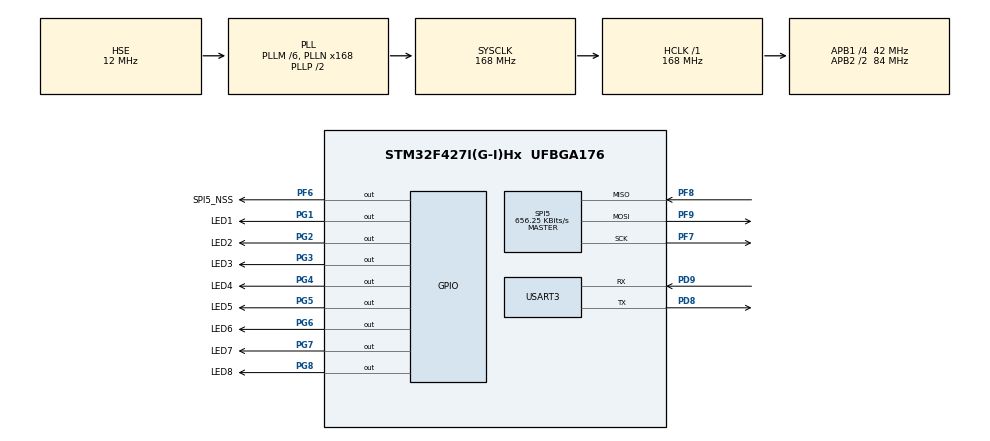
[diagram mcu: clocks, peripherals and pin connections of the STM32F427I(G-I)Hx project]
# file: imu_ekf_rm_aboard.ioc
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FREERTOS.Tasks01=LOGGER_TASK,0,128,Logger_Task,As weak,NULL,Dynamic,NULL,NULL;IMU_TASK,0,256,Imu_Task,As weak,NULL,Dynamic,NULL,NULL
Mcu.Family=STM32F4
Mcu.Name=STM32F427I(G-I)Hx
Mcu.Package=UFBGA176
NVIC.PriorityGroup=NVIC_PRIORITYGROUP_4
NVIC.TIM6_DAC_IRQn=true\:15\:0\:false\:false\:true\:false\:false\:true\:true
NVIC.TimeBase=TIM6_DAC_IRQn
NVIC.TimeBaseIP=TIM6
PD8.Mode=Asynchronous
PD8.Signal=USART3_TX
PD9.Mode=Asynchronous
PD9.Signal=USART3_RX
PF6.GPIO_Label=SPI5_NSS
PF6.GPIO_Speed=GPIO_SPEED_FREQ_HIGH
PF6.PinState=GPIO_PIN_RESET
PF6.Signal=GPIO_Output
PF7.Mode=Full_Duplex_Master
PF7.Signal=SPI5_SCK
PF8.Mode=Full_Duplex_Master
PF8.Signal=SPI5_MISO
PF9.Mode=Full_Duplex_Master
PF9.Signal=SPI5_MOSI
PG1.GPIO_Label=LED1
PG1.GPIO_ModeDefaultOutputPP=GPIO_MODE_OUTPUT_PP
PG1.GPIO_PuPd=GPIO_NOPULL
PG1.GPIO_Speed=GPIO_SPEED_FREQ_HIGH
PG1.PinState=GPIO_PIN_SET
PG1.Signal=GPIO_Output
PG2.GPIO_Label=LED2
PG2.GPIO_ModeDefaultOutputPP=GPIO_MODE_OUTPUT_PP
PG2.GPIO_PuPd=GPIO_NOPULL
PG2.GPIO_Speed=GPIO_SPEED_FREQ_HIGH
PG2.PinState=GPIO_PIN_SET
PG2.Signal=GPIO_Output
PG3.GPIO_Label=LED3
PG3.GPIO_ModeDefaultOutputPP=GPIO_MODE_OUTPUT_PP
PG3.GPIO_PuPd=GPIO_NOPULL
PG3.GPIO_Speed=GPIO_SPEED_FREQ_HIGH
PG3.PinState=GPIO_PIN_SET
PG3.Signal=GPIO_Output
PG4.GPIO_Label=LED4
PG4.GPIO_ModeDefaultOutputPP=GPIO_MODE_OUTPUT_PP
PG4.GPIO_PuPd=GPIO_NOPULL
PG4.GPIO_Speed=GPIO_SPEED_FREQ_HIGH
PG4.PinState=GPIO_PIN_SET
PG4.Signal=GPIO_Output
PG5.GPIO_Label=LED5
PG5.GPIO_ModeDefaultOutputPP=GPIO_MODE_OUTPUT_PP
PG5.GPIO_PuPd=GPIO_NOPULL
PG5.GPIO_Speed=GPIO_SPEED_FREQ_HIGH
PG5.PinState=GPIO_PIN_SET
PG5.Signal=GPIO_Output
PG6.GPIO_Label=LED6
PG6.GPIO_ModeDefaultOutputPP=GPIO_MODE_OUTPUT_PP
PG6.GPIO_PuPd=GPIO_NOPULL
PG6.GPIO_Speed=GPIO_SPEED_FREQ_HIGH
PG6.PinState=GPIO_PIN_SET
PG6.Signal=GPIO_Output
PG7.GPIO_Label=LED7
PG7.GPIO_ModeDefaultOutputPP=GPIO_MODE_OUTPUT_PP
PG7.GPIO_PuPd=GPIO_NOPULL
PG7.GPIO_Speed=GPIO_SPEED_FREQ_HIGH
PG7.PinState=GPIO_PIN_SET
PG7.Signal=GPIO_Output
PG8.GPIO_Label=LED8
PG8.GPIO_ModeDefaultOutputPP=GPIO_MODE_OUTPUT_PP
PG8.GPIO_PuPd=GPIO_NOPULL
PG8.GPIO_Speed=GPIO_SPEED_FREQ_HIGH
PG8.PinState=GPIO_PIN_SET
PG8.Signal=GPIO_Output
PH0/OSC_IN.Mode=HSE-External-Oscillator
PH0/OSC_IN.Signal=RCC_OSC_IN
PH1/OSC_OUT.Mode=HSE-External-Oscillator
PH1/OSC_OUT.Signal=RCC_OSC_OUT
ProjectManager.HeapSize=0x200
ProjectManager.StackSize=0x400
ProjectManager.TargetToolchain=MDK-ARM V5.32
RCC.48MHZClocksFreq_Value=84000000
RCC.AHBFreq_Value=168000000
RCC.APB1CLKDivider=RCC_HCLK_DIV4
RCC.APB1Freq_Value=42000000
RCC.APB1TimFreq_Value=84000000
RCC.APB2CLKDivider=RCC_HCLK_DIV2
RCC.APB2Freq_Value=84000000
RCC.APB2TimFreq_Value=168000000
RCC.CortexFreq_Value=168000000
RCC.HCLKFreq_Value=168000000
RCC.HSE_VALUE=12000000
RCC.HSI_VALUE=16000000
RCC.LSE_VALUE=32768
RCC.PLLM=6
RCC.PLLN=168
RCC.PLLSourceVirtual=RCC_PLLSOURCE_HSE
RCC.SYSCLKFreq_VALUE=168000000
RCC.SYSCLKSource=RCC_SYSCLKSOURCE_PLLCLK
RCC.VCOOutputFreq_Value=336000000
SPI5.BaudRatePrescaler=SPI_BAUDRATEPRESCALER_128
SPI5.CalculateBaudRate=656.25 KBits/s
SPI5.Direction=SPI_DIRECTION_2LINES
SPI5.Mode=SPI_MODE_MASTER
SPI5.VirtualType=VM_MASTER
STMicroelectronics.X-CUBE-ALGOBUILD.1.4.0.LibraryCcDSPOoLibraryJjDSPOoLibrary=true
USART3.VirtualMode=VM_ASYNC
VP_FREERTOS_VS_CMSIS_V1.Mode=CMSIS_V1
VP_STMicroelectronics.X-CUBE-ALGOBUILD_VS_DSPOoLibraryJjLibrary_1.4.0_1.4.0.Mode=DSPOoLibraryJjLibrary
VP_SYS_VS_tim6.Mode=TIM6
board=custom

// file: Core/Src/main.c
/* USER CODE BEGIN Header */
/**
  ******************************************************************************
  * @file           : main.c
  * @brief          : Main program body
  ******************************************************************************
  * @attention
  *
  * Copyright (c) 2024 STMicroelectronics.
  * All rights reserved.
  *
  * This software is licensed under terms that can be found in the LICENSE file
  * in the root directory of this software component.
  * If no LICENSE file comes with this software, it is provided AS-IS.
  *
  ******************************************************************************
  */
/* USER CODE END Header */
#include "main.h"
#include "cmsis_os.h"
#include "spi.h"
#include "usart.h"
#include "gpio.h"

/* USER CODE BEGIN Includes */

#include "bsp_imu.h"
#include "bsp_dwt.h"
#include "arm_math.h"
#include "math.h"
#include "stdint.h"
#include "stdlib.h"

/* USER CODE END Includes */

/* USER CODE BEGIN PD */

#define FPU_DEBUG 0       // 开启FPU浮点运算测试

/* USER CODE END PD */

void SystemClock_Config(void);
void MX_FREERTOS_Init(void);

/* USER CODE BEGIN 0 */
#ifdef FPU_DEBUG
  float fpu_test = 0;
#endif //FPU_DEBUG 1

/* USER CODE END 0 */

int main(void)
{

  /* MCU Configuration--------------------------------------------------------*/

  /* Reset of all peripherals, Initializes the Flash interface and the Systick. */
  HAL_Init();

  /* Configure the system clock */
  SystemClock_Config();

  /* Initialize all configured peripherals */
  MX_GPIO_Init();
  MX_SPI5_Init();
  MX_USART3_UART_Init();
  /* USER CODE BEGIN 2 */
  DWT_Init(168);
#ifdef FPU_DEBUG
  fpu_test = arm_sin_f32(3.1415926/6);//sin（30°），理论值为0.5
#endif
	mpu_device_init();
	init_quaternion();
	printf("rm_aboard & imu & ekf\r\n");
  printf("imu id = %x\r\n", id);
  /* USER CODE END 2 */

  /* Call init function for freertos objects (in freertos.c) */
  MX_FREERTOS_Init();

  /* Start scheduler */
  osKernelStart();

  /* We should never get here as control is now taken by the scheduler */
  /* Infinite loop */
  while (1)
  {

  }
}

void SystemClock_Config(void)
{
  RCC_OscInitTypeDef RCC_OscInitStruct = {0};
  RCC_ClkInitTypeDef RCC_ClkInitStruct = {0};

  /** Configure the main internal regulator output voltage
  */
  __HAL_RCC_PWR_CLK_ENABLE();
  __HAL_PWR_VOLTAGESCALING_CONFIG(PWR_REGULATOR_VOLTAGE_SCALE1);

  /** Initializes the RCC Oscillators according to the specified parameters
  * in the RCC_OscInitTypeDef structure.
  */
  RCC_OscInitStruct.OscillatorType = RCC_OSCILLATORTYPE_HSE;
  RCC_OscInitStruct.HSEState = RCC_HSE_ON;
  RCC_OscInitStruct.PLL.PLLState = RCC_PLL_ON;
  RCC_OscInitStruct.PLL.PLLSource = RCC_PLLSOURCE_HSE;
  RCC_OscInitStruct.PLL.PLLM = 6;
  RCC_OscInitStruct.PLL.PLLN = 168;
  RCC_OscInitStruct.PLL.PLLP = RCC_PLLP_DIV2;
  RCC_OscInitStruct.PLL.PLLQ = 4;
  if (HAL_RCC_OscConfig(&RCC_OscInitStruct) != HAL_OK)
  {
    Error_Handler();
  }

  /** Initializes the CPU, AHB and APB buses clocks
  */
  RCC_ClkInitStruct.ClockType = RCC_CLOCKTYPE_HCLK|RCC_CLOCKTYPE_SYSCLK
                              |RCC_CLOCKTYPE_PCLK1|RCC_CLOCKTYPE_PCLK2;
  RCC_ClkInitStruct.SYSCLKSource = RCC_SYSCLKSOURCE_PLLCLK;
  RCC_ClkInitStruct.AHBCLKDivider = RCC_SYSCLK_DIV1;
  RCC_ClkInitStruct.APB1CLKDivider = RCC_HCLK_DIV4;
  RCC_ClkInitStruct.APB2CLKDivider = RCC_HCLK_DIV2;

  if (HAL_RCC_ClockConfig(&RCC_ClkInitStruct, FLASH_LATENCY_5) != HAL_OK)
  {
    Error_Handler();
  }
}

void HAL_TIM_PeriodElapsedCallback(TIM_HandleTypeDef *htim)
{
  if (htim->Instance == TIM6) {
    HAL_IncTick();
  }
}

void Error_Handler(void)
{
  __disable_irq();
  while (1)
  {
  }
}

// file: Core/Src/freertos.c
/* USER CODE BEGIN Header */
/**
  ******************************************************************************
  * File Name          : freertos.c
  * Description        : Code for freertos applications
  ******************************************************************************
  * @attention
  *
  * Copyright (c) 2024 STMicroelectronics.
  * All rights reserved.
  *
  * This software is licensed under terms that can be found in the LICENSE file
  * in the root directory of this software component.
  * If no LICENSE file comes with this software, it is provided AS-IS.
  *
  ******************************************************************************
  */
/* USER CODE END Header */

#include "FreeRTOS.h"
#include "task.h"
#include "main.h"
#include "cmsis_os.h"

osThreadId LOGGER_TASKHandle;
osThreadId IMU_TASKHandle;

void Logger_Task(void const * argument);
void Imu_Task(void const * argument);

void MX_FREERTOS_Init(void); /* (MISRA C 2004 rule 8.1) */

/* GetIdleTaskMemory prototype (linked to static allocation support) */
void vApplicationGetIdleTaskMemory( StaticTask_t **ppxIdleTaskTCBBuffer, StackType_t **ppxIdleTaskStackBuffer, uint32_t *pulIdleTaskStackSize );

/* USER CODE BEGIN GET_IDLE_TASK_MEMORY */
static StaticTask_t xIdleTaskTCBBuffer;
static StackType_t xIdleStack[configMINIMAL_STACK_SIZE];

void vApplicationGetIdleTaskMemory( StaticTask_t **ppxIdleTaskTCBBuffer, StackType_t **ppxIdleTaskStackBuffer, uint32_t *pulIdleTaskStackSize )
{
  *ppxIdleTaskTCBBuffer = &xIdleTaskTCBBuffer;
  *ppxIdleTaskStackBuffer = &xIdleStack[0];
  *pulIdleTaskStackSize = configMINIMAL_STACK_SIZE;
  /* place for user code */
}
/* USER CODE END GET_IDLE_TASK_MEMORY */

void MX_FREERTOS_Init(void) {

  /* Create the thread(s) */
  /* definition and creation of LOGGER_TASK */
  osThreadDef(LOGGER_TASK, Logger_Task, osPriorityNormal, 0, 128);
  LOGGER_TASKHandle = osThreadCreate(osThread(LOGGER_TASK), NULL);

  /* definition and creation of IMU_TASK */
  osThreadDef(IMU_TASK, Imu_Task, osPriorityNormal, 0, 256);
  IMU_TASKHandle = osThreadCreate(osThread(IMU_TASK), NULL);

}

__weak void Logger_Task(void const * argument)
{
  for(;;)
  {
    osDelay(1);
  }
}

__weak void Imu_Task(void const * argument)
{
  for(;;)
  {
    osDelay(1);
  }
}
